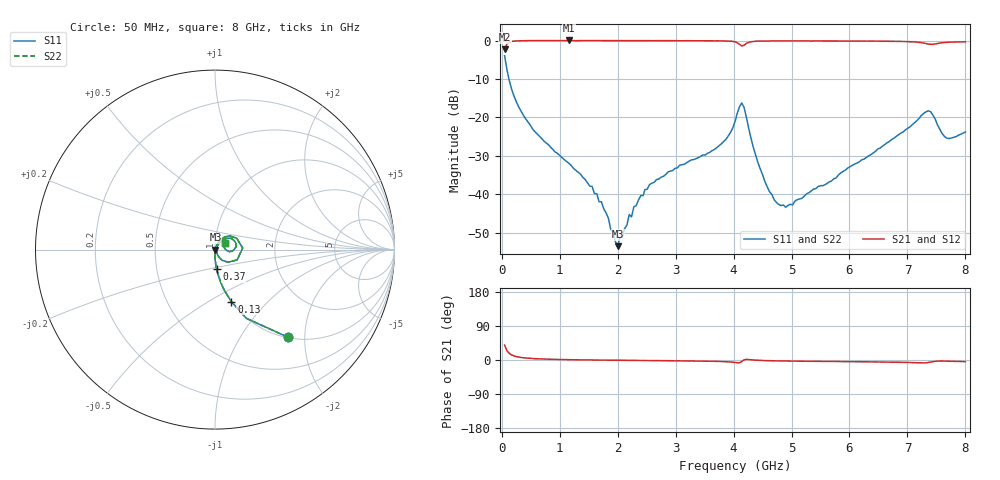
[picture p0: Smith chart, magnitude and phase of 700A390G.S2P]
!  American Technical Ceramics  Date:  3/13/98
!  One Norden Lane
!  Huntington Station,  NY.  11746-2102
!  Tel:  (516) 547-5700  Fax:  (516) 547-5748
!  Part Number  700A390G
!  Description: Porcelain, High Q, Low ESR
!  Application: Bypass, Coupling, Timing, Feedback
!  Tuning, Impedance Match, Blocking
# GHZ S DB R 50
! Freq  |S11|  S11 Ph  |S21|  S21 Ph  |S12|  S12 Ph  |S22|  S22 Ph
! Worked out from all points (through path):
!   201 points, 50 MHz to 8 GHz, reference 50 ohm
!   highest |S21| = 0.04 dB at 1.16 GHz (marker M1); lowest = -2.2 dB at 50 MHz (marker M2)
!   group delay of S21, straight-line fit = 3.96 ps
!   lowest |S11| = -53.5 dB at 2 GHz (marker M3), VSWR 1.00, Z = 50.2 + j0.0195 ohm
!   |S11| at or under -10 dB: 125.1 MHz to end of sweep
!   |S22| runs from -53.5 to -3.9 dB; largest |S21 - S12| = 0
!   S11 on the Smith chart (normalised r, x): 50 MHz: 1.01, -1.65; 130 MHz: 1.00, -0.64; 370 MHz: 0.99, -0.22; 8 GHz: 1.11, +0.08
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0.05  -3.94 -50.2  -2.22 39.4  -2.22 39.4  -3.94 -50.2
0.09  -7.52 -65.5  -0.84 24.6  -0.84 24.6  -7.52 -65.5
0.13  -10.35 -72.5  -0.48 17.6  -0.48 17.6  -10.35 -72.5
0.37  -19.35 -85.5  -0.03 5.9  -0.03 5.9  -19.35 -85.5
1.16  -31.92 -91.5  0.04 0.8  0.04 0.8  -31.92 -91.5
1.4  -35.58 -90.7  0.00 0.5  0.00 0.5  -35.58 -90.7
1.72  -41.93 -81.0  0.00 -0.2  0.00 -0.2  -41.93 -81.0
2  -53.50 5.3  0.02 -0.7  0.02 -0.7  -53.50 5.3
2.28  -43.25 60.7  -0.01 -1.1  -0.01 -1.1  -43.25 60.7
2.71  -36.01 67.7  -0.02 -1.9  -0.02 -1.9  -36.01 67.7
3.67  -28.33 65.8  -0.07 -3.4  -0.07 -3.4  -28.33 65.8
4.03  -20.88 52.0  -0.33 -6.5  -0.33 -6.5  -20.88 52.0
4.14  -16.22 3.3  -1.39 -4.3  -1.39 -4.3  -16.22 3.3
4.18  -17.32 -24.8  -1.23 0.3  -1.23 0.3  -17.32 -24.8
4.42  -31.70 -63.5  -0.12 -0.7  -0.12 -0.7  -31.70 -63.5
4.74  -42.14 -21.1  -0.08 -2.4  -0.08 -2.4  -42.14 -21.1
5.02  -42.75 18.7  -0.07 -3.0  -0.07 -3.0  -42.75 18.7
5.38  -38.64 44.0  -0.08 -3.5  -0.08 -3.5  -38.64 44.0
6.69  -26.22 55.8  -0.18 -5.5  -0.18 -5.5  -26.22 55.8
7.36  -18.28 17.2  -0.90 -6.6  -0.90 -6.6  -18.28 17.2
7.68  -25.39 9.0  -0.43 -3.1  -0.43 -3.1  -25.39 9.0
8  -23.77 34.9  -0.32 -4.2  -0.32 -4.2  -23.77 34.9
